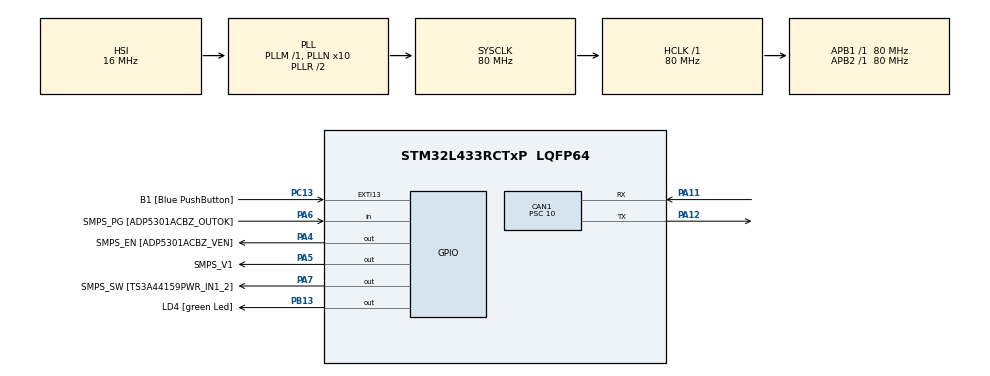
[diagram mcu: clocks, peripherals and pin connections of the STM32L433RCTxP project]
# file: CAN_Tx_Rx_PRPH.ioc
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CAN1.BS1=CAN_BS1_5TQ
CAN1.BS2=CAN_BS2_2TQ
CAN1.CalculateBaudRate=1000000
CAN1.CalculateTimeBit=1000
CAN1.CalculateTimeQuantum=125.0
CAN1.Prescaler=10
Mcu.Family=STM32L4
Mcu.Name=STM32L433RCTxP
Mcu.Package=LQFP64
NVIC.PriorityGroup=NVIC_PRIORITYGROUP_4
PA11.Mode=CAN_Activate
PA11.Signal=CAN1_RX
PA12.Mode=CAN_Activate
PA12.Signal=CAN1_TX
PA13\ (JTMS-SWDIO).GPIO_Label=TMS
PA13\ (JTMS-SWDIO).Mode=Trace_Asynchronous_SW
PA13\ (JTMS-SWDIO).Signal=SYS_JTMS-SWDIO
PA14\ (JTCK-SWCLK).GPIO_Label=TCK
PA14\ (JTCK-SWCLK).Mode=Trace_Asynchronous_SW
PA14\ (JTCK-SWCLK).Signal=SYS_JTCK-SWCLK
PA2.GPIO_Label=USART_TX
PA2.GPIO_Mode=GPIO_MODE_AF_PP
PA2.GPIO_PuPd=GPIO_NOPULL
PA2.GPIO_Speed=GPIO_SPEED_FREQ_VERY_HIGH
PA2.Signal=USART2_TX
PA3.GPIO_Label=USART_RX
PA3.GPIO_Mode=GPIO_MODE_AF_PP
PA3.GPIO_PuPd=GPIO_NOPULL
PA3.GPIO_Speed=GPIO_SPEED_FREQ_VERY_HIGH
PA3.Signal=USART2_RX
PA4.GPIO_Label=SMPS_EN [ADP5301ACBZ_VEN]
PA4.Signal=GPIO_Output
PA5.GPIO_Label=SMPS_V1
PA5.GPIO_ModeDefaultOutputPP=GPIO_MODE_OUTPUT_PP
PA5.GPIO_PuPd=GPIO_NOPULL
PA5.GPIO_Speed=GPIO_SPEED_FREQ_LOW
PA5.Signal=GPIO_Output
PA6.GPIO_Label=SMPS_PG [ADP5301ACBZ_OUTOK]
PA6.GPIO_PuPd=GPIO_PULLUP
PA6.Signal=GPIO_Input
PA7.GPIO_Label=SMPS_SW [TS3A44159PWR_IN1_2]
PA7.Signal=GPIO_Output
PB13.GPIO_Label=LD4 [green Led]
PB13.Signal=GPIO_Output
PB3\ (JTDO-TRACESWO).GPIO_Label=SWO
PB3\ (JTDO-TRACESWO).Mode=Trace_Asynchronous_SW
PB3\ (JTDO-TRACESWO).Signal=SYS_JTDO-SWO
PC13.GPIO_Label=B1 [Blue PushButton]
PC13.GPIO_ModeDefaultEXTI=GPIO_MODE_IT_FALLING
PC13.GPIO_PuPd=GPIO_NOPULL
PC13.Signal=GPXTI13
PC14-OSC32_IN\ (PC14).Signal=RCC_OSC32_IN
PC15-OSC32_OUT\ (PC15).Signal=RCC_OSC32_OUT
PH0-OSC_IN\ (PH0).GPIO_Label=MCO
PH0-OSC_IN\ (PH0).Signal=RCC_OSC_IN
PH1-OSC_OUT\ (PH1).Signal=RCC_OSC_OUT
ProjectManager.HeapSize=0x200
ProjectManager.StackSize=0x400
ProjectManager.TargetToolchain=STM32CubeIDE
RCC.ADCFreq_Value=64000000
RCC.AHBFreq_Value=80000000
RCC.APB1Freq_Value=80000000
RCC.APB1TimFreq_Value=80000000
RCC.APB2Freq_Value=80000000
RCC.APB2TimFreq_Value=80000000
RCC.CortexFreq_Value=80000000
RCC.HCLKFreq_Value=80000000
RCC.HSE_VALUE=8000000
RCC.HSI48_VALUE=48000000
RCC.HSI_VALUE=16000000
RCC.LSE_VALUE=32768
RCC.MSI_VALUE=4000000
RCC.PLLN=10
RCC.PLLSourceVirtual=RCC_PLLSOURCE_HSI
RCC.PREFETCH_ENABLE=1
RCC.SYSCLKFreq_VALUE=80000000
RCC.SYSCLKSource=RCC_SYSCLKSOURCE_PLLCLK
RCC.USBFreq_Value=64000000
RCC.VCOOutputFreq_Value=160000000
board=NUCLEO-L433RC-P

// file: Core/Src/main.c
/* USER CODE BEGIN Header */
/**
  ******************************************************************************
  * @file           : main.c
  * @brief          : Main program body
  ******************************************************************************
  * @attention
  *
  * Copyright (c) 2025 STMicroelectronics.
  * All rights reserved.
  *
  * This software is licensed under terms that can be found in the LICENSE file
  * in the root directory of this software component.
  * If no LICENSE file comes with this software, it is provided AS-IS.
  *
  ******************************************************************************
  */
/* USER CODE END Header */
#include "main.h"

/* USER CODE BEGIN Includes */
#include <stdio.h>
/* USER CODE END Includes */

/* USER CODE BEGIN PD */
//#define DEBUGMODE
/* USER CODE END PD */

CAN_HandleTypeDef hcan1;

void SystemClock_Config(void);
static void MX_GPIO_Init(void);
static void MX_CAN1_Init(void);

/* USER CODE BEGIN 0 */
CAN_RxHeaderTypeDef rxHeader = {0};
uint8_t rxMsg2[8] = {0};
/* USER CODE END 0 */

int main(void)
{

  /* USER CODE BEGIN 1 */
  HAL_StatusTypeDef res = HAL_OK;
  /* USER CODE END 1 */

  /* MCU Configuration--------------------------------------------------------*/

  /* Reset of all peripherals, Initializes the Flash interface and the Systick. */
  HAL_Init();

  /* Configure the system clock */
  SystemClock_Config();

  /* Initialize all configured peripherals */
  MX_GPIO_Init();
  MX_CAN1_Init();
  /* USER CODE BEGIN 2 */
  CAN_FilterTypeDef canfil;
  canfil.FilterBank = 0;
  canfil.FilterMode = CAN_FILTERMODE_IDMASK;
  canfil.FilterFIFOAssignment = CAN_RX_FIFO0;
  canfil.FilterIdHigh = 0;
  canfil.FilterIdLow = 0;
  canfil.FilterMaskIdHigh = 0;
  canfil.FilterMaskIdLow = 0;
  canfil.FilterScale = CAN_FILTERSCALE_32BIT;
  canfil.FilterActivation = CAN_FILTER_ENABLE;
  canfil.SlaveStartFilterBank = 0;
  res = HAL_CAN_ConfigFilter(&hcan1, &canfil);

  res = HAL_CAN_Start(&hcan1);

  // Tx setup
  CAN_TxHeaderTypeDef txHeader;
  txHeader.ExtId = 0x1000201;
  txHeader.IDE = CAN_ID_EXT;
  txHeader.RTR = CAN_RTR_DATA;
  txHeader.DLC = 3;
  txHeader.TransmitGlobalTime = DISABLE;

  uint8_t msg1[] = {0x01, 0x01, 0x01};

  uint32_t txMailbox;
  /* USER CODE END 2 */

  /* Infinite loop */
  /* USER CODE BEGIN WHILE */
  while (1)
  {
    // Tx msg1
    res = HAL_CAN_AddTxMessage(&hcan1, &txHeader, msg1, &txMailbox);
    HAL_Delay(1000);

    // Rx and Tx msg2
    if (HAL_CAN_GetRxFifoFillLevel(&hcan1, CAN_RX_FIFO0) > 0) {
      res = HAL_CAN_GetRxMessage(&hcan1, CAN_RX_FIFO0, &rxHeader, rxMsg2);
      res = HAL_CAN_AddTxMessage(&hcan1, &txHeader, rxMsg2, &txMailbox);
#ifdef DEBUGMODE
      uint8_t msg2Check[] = {0x01, 0x0F, 0xFF};
      // Check message
      if (rxMsg2[0] == msg2Check[0]
         || rxMsg2[1] == msg2Check[1]
         || rxMsg2[2] == msg2Check[2]) {
        printf("Tx working");
      } else {
        printf("Tx not working");
      }
#endif
    }
    /* USER CODE END WHILE */

  }
}

void SystemClock_Config(void)
{
  RCC_OscInitTypeDef RCC_OscInitStruct = {0};
  RCC_ClkInitTypeDef RCC_ClkInitStruct = {0};

  /** Configure the main internal regulator output voltage
  */
  if (HAL_PWREx_ControlVoltageScaling(PWR_REGULATOR_VOLTAGE_SCALE1) != HAL_OK)
  {
    Error_Handler();
  }

  /** Initializes the RCC Oscillators according to the specified parameters
  * in the RCC_OscInitTypeDef structure.
  */
  RCC_OscInitStruct.OscillatorType = RCC_OSCILLATORTYPE_HSI;
  RCC_OscInitStruct.HSIState = RCC_HSI_ON;
  RCC_OscInitStruct.HSICalibrationValue = RCC_HSICALIBRATION_DEFAULT;
  RCC_OscInitStruct.PLL.PLLState = RCC_PLL_ON;
  RCC_OscInitStruct.PLL.PLLSource = RCC_PLLSOURCE_HSI;
  RCC_OscInitStruct.PLL.PLLM = 1;
  RCC_OscInitStruct.PLL.PLLN = 10;
  RCC_OscInitStruct.PLL.PLLP = RCC_PLLP_DIV7;
  RCC_OscInitStruct.PLL.PLLQ = RCC_PLLQ_DIV2;
  RCC_OscInitStruct.PLL.PLLR = RCC_PLLR_DIV2;
  if (HAL_RCC_OscConfig(&RCC_OscInitStruct) != HAL_OK)
  {
    Error_Handler();
  }

  /** Initializes the CPU, AHB and APB buses clocks
  */
  RCC_ClkInitStruct.ClockType = RCC_CLOCKTYPE_HCLK|RCC_CLOCKTYPE_SYSCLK
                              |RCC_CLOCKTYPE_PCLK1|RCC_CLOCKTYPE_PCLK2;
  RCC_ClkInitStruct.SYSCLKSource = RCC_SYSCLKSOURCE_PLLCLK;
  RCC_ClkInitStruct.AHBCLKDivider = RCC_SYSCLK_DIV1;
  RCC_ClkInitStruct.APB1CLKDivider = RCC_HCLK_DIV1;
  RCC_ClkInitStruct.APB2CLKDivider = RCC_HCLK_DIV1;

  if (HAL_RCC_ClockConfig(&RCC_ClkInitStruct, FLASH_LATENCY_4) != HAL_OK)
  {
    Error_Handler();
  }
}

static void MX_CAN1_Init(void)
{

  hcan1.Instance = CAN1;
  hcan1.Init.Prescaler = 10;
  hcan1.Init.Mode = CAN_MODE_NORMAL;
  hcan1.Init.SyncJumpWidth = CAN_SJW_1TQ;
  hcan1.Init.TimeSeg1 = CAN_BS1_5TQ;
  hcan1.Init.TimeSeg2 = CAN_BS2_2TQ;
  hcan1.Init.TimeTriggeredMode = DISABLE;
  hcan1.Init.AutoBusOff = DISABLE;
  hcan1.Init.AutoWakeUp = DISABLE;
  hcan1.Init.AutoRetransmission = DISABLE;
  hcan1.Init.ReceiveFifoLocked = DISABLE;
  hcan1.Init.TransmitFifoPriority = DISABLE;
  if (HAL_CAN_Init(&hcan1) != HAL_OK)
  {
    Error_Handler();
  }

}

static void MX_GPIO_Init(void)
{
  GPIO_InitTypeDef GPIO_InitStruct = {0};

  /* GPIO Ports Clock Enable */
  __HAL_RCC_GPIOC_CLK_ENABLE();
  __HAL_RCC_GPIOH_CLK_ENABLE();
  __HAL_RCC_GPIOA_CLK_ENABLE();
  __HAL_RCC_GPIOB_CLK_ENABLE();

  /*Configure GPIO pin Output Level */
  HAL_GPIO_WritePin(GPIOA, SMPS_EN_Pin|SMPS_V1_Pin|SMPS_SW_Pin, GPIO_PIN_RESET);

  /*Configure GPIO pin Output Level */
  HAL_GPIO_WritePin(LD4_GPIO_Port, LD4_Pin, GPIO_PIN_RESET);

  /*Configure GPIO pin : B1_Pin */
  GPIO_InitStruct.Pin = B1_Pin;
  GPIO_InitStruct.Mode = GPIO_MODE_IT_FALLING;
  GPIO_InitStruct.Pull = GPIO_NOPULL;
  HAL_GPIO_Init(B1_GPIO_Port, &GPIO_InitStruct);

  /*Configure GPIO pins : USART_TX_Pin USART_RX_Pin */
  GPIO_InitStruct.Pin = USART_TX_Pin|USART_RX_Pin;
  GPIO_InitStruct.Mode = GPIO_MODE_AF_PP;
  GPIO_InitStruct.Pull = GPIO_NOPULL;
  GPIO_InitStruct.Speed = GPIO_SPEED_FREQ_VERY_HIGH;
  GPIO_InitStruct.Alternate = GPIO_AF7_USART2;
  HAL_GPIO_Init(GPIOA, &GPIO_InitStruct);

  /*Configure GPIO pins : SMPS_EN_Pin SMPS_V1_Pin SMPS_SW_Pin */
  GPIO_InitStruct.Pin = SMPS_EN_Pin|SMPS_V1_Pin|SMPS_SW_Pin;
  GPIO_InitStruct.Mode = GPIO_MODE_OUTPUT_PP;
  GPIO_InitStruct.Pull = GPIO_NOPULL;
  GPIO_InitStruct.Speed = GPIO_SPEED_FREQ_LOW;
  HAL_GPIO_Init(GPIOA, &GPIO_InitStruct);

  /*Configure GPIO pin : SMPS_PG_Pin */
  GPIO_InitStruct.Pin = SMPS_PG_Pin;
  GPIO_InitStruct.Mode = GPIO_MODE_INPUT;
  GPIO_InitStruct.Pull = GPIO_PULLUP;
  HAL_GPIO_Init(SMPS_PG_GPIO_Port, &GPIO_InitStruct);

  /*Configure GPIO pin : LD4_Pin */
  GPIO_InitStruct.Pin = LD4_Pin;
  GPIO_InitStruct.Mode = GPIO_MODE_OUTPUT_PP;
  GPIO_InitStruct.Pull = GPIO_NOPULL;
  GPIO_InitStruct.Speed = GPIO_SPEED_FREQ_LOW;
  HAL_GPIO_Init(LD4_GPIO_Port, &GPIO_InitStruct);

}

/* USER CODE BEGIN 4 */
int __io_putchar(int ch)
{
  return ITM_SendChar(ch);
}
/* USER CODE END 4 */

void Error_Handler(void)
{
  __disable_irq();
  while (1)
  {
  }
}
